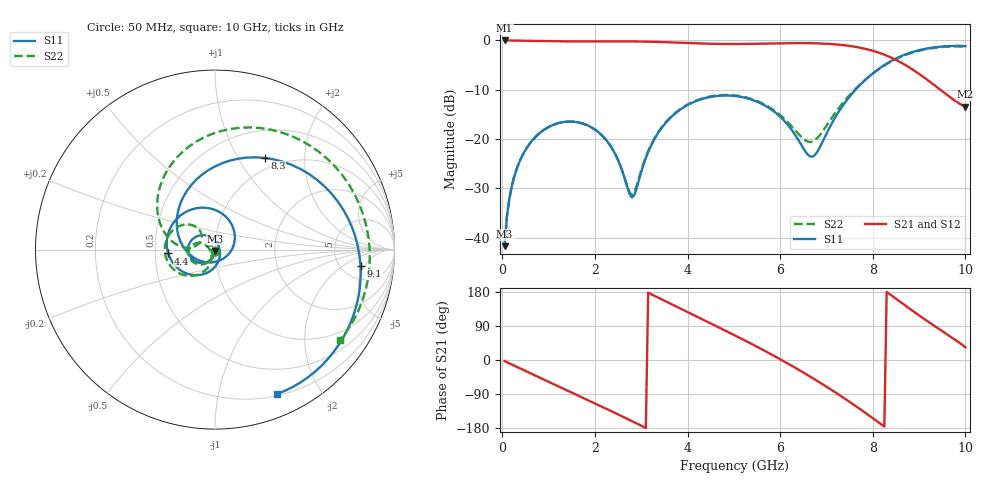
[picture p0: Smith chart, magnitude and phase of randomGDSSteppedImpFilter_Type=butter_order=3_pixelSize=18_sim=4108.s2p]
! freq	dB(S11)	phase(S11)	dB(S12)	phase(S12)
!  dB(S21)	phase(S21)	dB(S22)	phase(S22)
!S-par simulation data
#  GHz  S  DB  R 50
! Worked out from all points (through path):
!   200 points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, 50 MHz to 10 GHz, reference 50 ohm
!   highest |S21| = -0.01 dB at 50 MHz (marker M1); lowest = -13.5 dB at 10 GHz (marker M2)
!   group delay of S21, straight-line fit = 187 ps
!   lowest |S11| = -41.7 dB at 50 MHz (marker M3), VSWR 1.02, Z = 50 - j0.818 ohm
!   |S11| at or under -10 dB: start of sweep to 7.628 GHz
!   |S22| runs from -41.7 to -1.2 dB; largest |S21 - S12| = 0
!   S11 on the Smith chart (normalised r, x): 50 MHz: 1.00, -0.02; 4.4 GHz: 0.59, -0.03; 8.3 GHz: 0.85, +1.30; 9.1 GHz: 7.57, -4.13; 10 GHz: 0.22, -1.49
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0.05  -41.74 -90.9  -0.01 -2.9  -0.01 -2.9  -41.74 -90.6
0.1  -35.75 -95.2  -0.01 -5.8  -0.01 -5.8  -35.75 -94.5
0.2  -29.79 -102.0  -0.02 -11.6  -0.02 -11.6  -29.79 -100.6
0.55  -21.50 -124.1  -0.08 -31.8  -0.08 -31.8  -21.49 -120.1
1.15  -16.96 -161.2  -0.17 -65.9  -0.17 -65.9  -16.95 -151.9
1.75  -16.91 160.7  -0.21 -100.0  -0.21 -100.0  -16.91 178.0
2.35  -21.60 115.6  -0.19 -134.7  -0.19 -134.7  -21.61 154.4
2.8  -31.88 17.0  -0.20 -161.4  -0.20 -161.4  -31.36 -159.1
3.4  -18.28 -102.4  -0.32 162.5  -0.32 162.5  -18.15 -114.3
4.4  -11.65 -175.3  -0.65 102.5  -0.65 102.5  -11.55 -160.1
5.05  -11.31 138.1  -0.73 63.2  -0.73 63.2  -11.19 168.8
5.95  -15.05 61.9  -0.59 5.5  -0.59 5.5  -14.75 132.3
6.7  -23.58 -74.2  -0.57 -47.7  -0.57 -47.7  -20.52 156.2
7.1  -17.09 -167.2  -0.74 -78.2  -0.74 -78.2  -15.90 176.3
7.45  -11.99 147.8  -1.06 -106.4  -1.06 -106.4  -11.59 166.4
7.9  -7.49 100.2  -1.85 -144.7  -1.85 -144.7  -7.46 139.3
8.3  -4.71 61.5  -3.09 179.7  -3.09 179.7  -4.81 108.1
8.35  -4.43 56.9  -3.29 175.2  -3.29 175.2  -4.53 103.9
8.75  -2.68 21.5  -5.25 139.4  -5.25 139.4  -2.81 69.2
9.1  -1.77 -6.4  -7.46 109.2  -7.46 109.2  -1.88 38.6
9.55  -1.20 -38.2  -10.67 72.3  -10.67 72.3  -1.30 0.7
10  -1.16 -66.8  -13.46 33.8  -13.46 33.8  -1.31 -35.8
